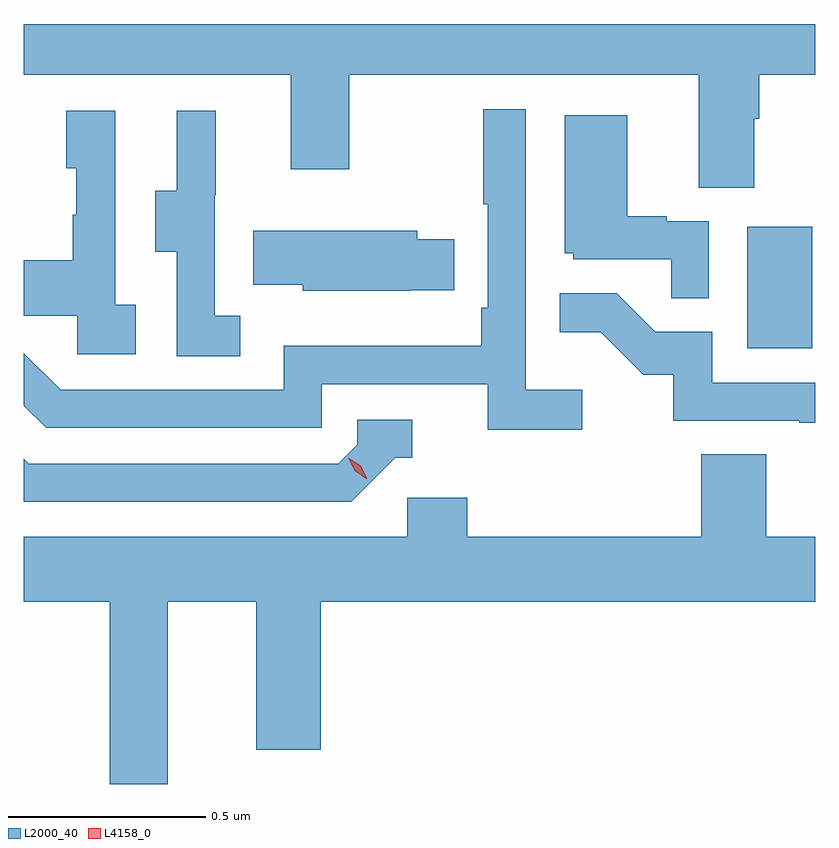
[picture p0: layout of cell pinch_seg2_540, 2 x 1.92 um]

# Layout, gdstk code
import gdstk
lib = gdstk.Library(unit=1e-6, precision=1e-09)
def R(c, l, rs):  # rectangles x0, y0, x1, y1
    for r in rs: c.add(gdstk.rectangle(r[:2], r[2:], *l))
def P(c, l, *ps):  # polygons
    for p in ps: c.add(gdstk.Polygon(p, *l))
L2000_40 = (2000, 40)
L4158_0 = (4158, 0)

pinch_seg2_540 = lib.new_cell('pinch_seg2_540')
R(pinch_seg2_540, L2000_40, [(993.422,602.988,993.586,603.295)])
P(pinch_seg2_540, L2000_40, [(993.439,603.568),(993.452,603.568),(993.452,603.68),(993.593,603.68),(993.593,603.808),(991.593,603.808),(991.593,603.68),(992.267,603.68),(992.267,603.441),(992.415,603.441),(992.415,603.68),(993.299,603.68),(993.299,603.394),(993.439,603.394)],
  [(993.004,602.884),(992.862,602.884),(992.862,603.592),(992.754,603.592),(992.754,603.352),(992.766,603.352),(992.766,603.091),(992.749,603.091),(992.749,602.995),(992.25,602.995),(992.25,602.883),(991.686,602.883),(991.593,602.976),(991.593,602.843),(991.649,602.787),(992.346,602.787),(992.346,602.898),(992.765,602.898),(992.765,602.782),(993.004,602.782)],
  [(992.14,603.071),(992.076,603.071),(992.076,603.375),(992.078,603.375),(992.078,603.589),(991.979,603.589),(991.979,603.387),(991.925,603.387),(991.925,603.232),(991.98,603.232),(991.98,602.968),(992.14,602.968)],
  [(991.876,603.098),(991.824,603.098),(991.824,603.589),(991.7,603.589),(991.7,603.444),(991.726,603.444),(991.726,603.326),(991.716,603.326),(991.716,603.211),(991.593,603.211),(991.593,603.071),(991.728,603.071),(991.728,602.973),(991.876,602.973)],
  [(993.324,603.309),(993.218,603.309),(993.218,603.322),(993.118,603.322),(993.118,603.577),(992.96,603.577),(992.96,603.228),(992.982,603.228),(992.982,603.213),(993.229,603.213),(993.229,603.115),(993.324,603.115)],
  [(992.57,603.135),(992.681,603.135),(992.681,603.264),(992.587,603.264),(992.587,603.286),(992.173,603.286),(992.173,603.149),(992.298,603.149),(992.298,603.134),(992.57,603.134)],
  [(993.593,602.901),(993.333,602.901),(993.333,603.03),(993.189,603.03),(993.091,603.128),(992.947,603.128),(992.947,603.029),(993.051,603.029),(993.158,602.922),(993.235,602.922),(993.235,602.805),(993.553,602.805),(993.553,602.8),(993.593,602.8)],
  [(992.532,602.712),(992.575,602.712),(992.575,602.808),(992.436,602.808),(992.436,602.745),(992.388,602.697),(991.605,602.697),(991.593,602.709),(991.593,602.601),(992.421,602.601)],
  [(991.957,602.348),(992.18,602.348),(992.18,601.974),(992.344,601.974),(992.344,602.348),(993.593,602.348),(993.593,602.512),(993.47,602.512),(993.47,602.72),(993.305,602.72),(993.305,602.512),(992.714,602.512),(992.714,602.61),(992.562,602.61),(992.562,602.512),(991.593,602.512),(991.593,602.348),(991.81,602.348),(991.81,601.887),(991.957,601.887)])
P(pinch_seg2_540, L4158_0, [(992.459,602.659),(992.429,602.679),(992.413,602.712),(992.413,602.712),(992.413,602.712),(992.444,602.692),(992.46,602.66),(992.46,602.659)])

lib.write_gds('pinch_seg2_540.gds')
